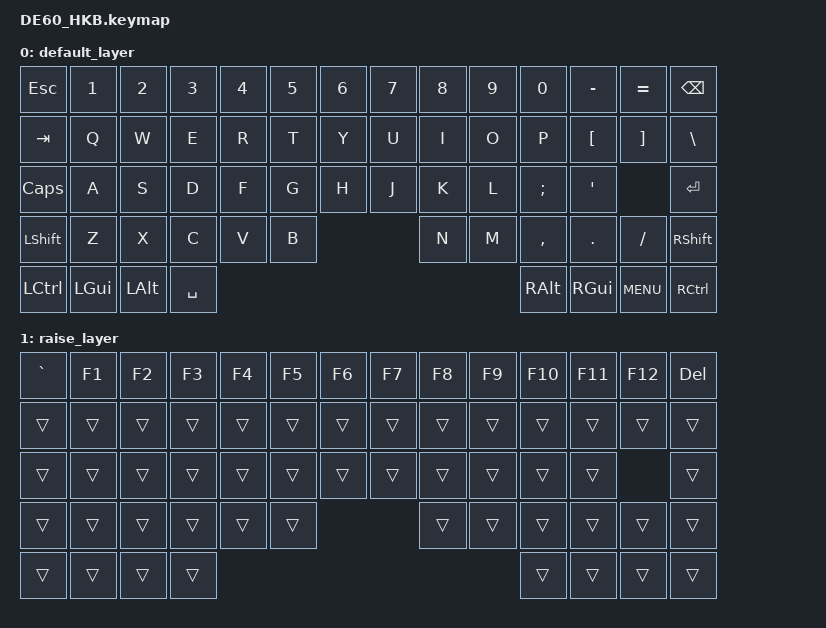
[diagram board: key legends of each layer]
#include <behaviors.dtsi>
#include <dt-bindings/zmk/keys.h>
#include <dt-bindings/zmk/bt.h>

/ {
  keymap {
    compatible = "zmk,keymap";
    
    default_layer {
      bindings = <
        &kp ESC    &kp N1 &kp N2 &kp N3 &kp N4 &kp N5 &kp N6 &kp N7 &kp N8 &kp N9 &kp N0 &kp MINUS &kp EQUAL &kp BSPC
        &kp TAB    &kp Q  &kp W  &kp E  &kp R  &kp T  &kp Y  &kp U  &kp I  &kp O  &kp P  &kp LBKT  &kp RBKT  &kp BSLH
        &kp CAPS   &kp A  &kp S  &kp D  &kp F  &kp G  &kp H  &kp J  &kp K  &kp L  &kp SEMI &kp SQT           &kp RET
        &kp LSHFT  &kp Z  &kp X  &kp C  &kp V  &kp B  &kp N  &kp M  &kp COMMA &kp DOT &kp FSLH           &kp RSHFT
        &kp LCTRL  &kp LGUI &kp LALT           &kp SPACE                     &kp RALT &kp RGUI &kp MENU   &kp RCTRL
      >;
    };

    raise_layer {
      bindings = <
        &kp GRAVE  &kp F1 &kp F2 &kp F3 &kp F4 &kp F5 &kp F6 &kp F7 &kp F8 &kp F9 &kp F10 &kp F11 &kp F12 &kp DEL
        &trans     &trans &trans &trans &trans &trans &trans &trans &trans &trans &trans  &trans  &trans  &trans
        &trans     &trans &trans &trans &trans &trans &trans &trans &trans &trans &trans  &trans              &trans
        &trans     &trans &trans &trans &trans &trans &trans &trans &trans &trans &trans                      &trans
        &trans     &trans &trans               &trans                             &trans  &trans  &trans      &trans
      >;
    };
  };
};
